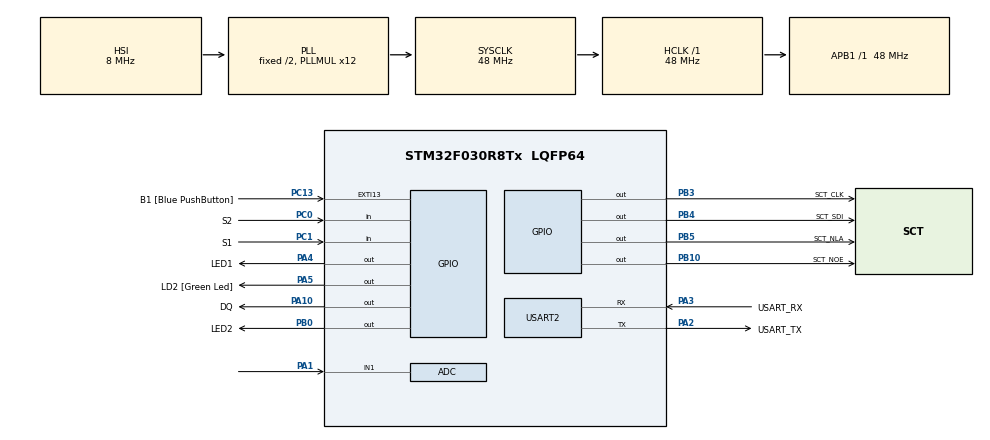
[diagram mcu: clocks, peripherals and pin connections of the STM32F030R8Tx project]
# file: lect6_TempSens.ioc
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ADC.ContinuousConvMode=ENABLE
ADC.Overrun=ADC_OVR_DATA_OVERWRITTEN
ADC.Resolution=ADC_RESOLUTION_10B
Mcu.Family=STM32F0
Mcu.Name=STM32F030R8Tx
Mcu.Package=LQFP64
PA1.Mode=IN1
PA1.Signal=ADC_IN1
PA10.GPIO_Label=DQ
PA10.GPIO_ModeDefaultOutputPP=GPIO_MODE_OUTPUT_OD
PA10.GPIO_PuPd=GPIO_NOPULL
PA10.PinState=GPIO_PIN_SET
PA10.Signal=GPIO_Output
PA13.GPIO_Label=TMS
PA13.Mode=Serial_Wire
PA13.Signal=SYS_SWDIO
PA14.GPIO_Label=TCK
PA14.Mode=Serial_Wire
PA14.Signal=SYS_SWCLK
PA2.GPIO_Label=USART_TX
PA2.GPIO_Mode=GPIO_MODE_AF_PP
PA2.GPIO_PuPd=GPIO_NOPULL
PA2.GPIO_Speed=GPIO_SPEED_FREQ_LOW
PA2.Mode=Asynchronous
PA2.Signal=USART2_TX
PA3.GPIO_Label=USART_RX
PA3.GPIO_Mode=GPIO_MODE_AF_PP
PA3.GPIO_PuPd=GPIO_NOPULL
PA3.GPIO_Speed=GPIO_SPEED_FREQ_LOW
PA3.Mode=Asynchronous
PA3.Signal=USART2_RX
PA4.GPIO_Label=LED1
PA4.Signal=GPIO_Output
PA5.GPIO_Label=LD2 [Green Led]
PA5.GPIO_Mode=GPIO_MODE_OUTPUT_PP
PA5.GPIO_PuPd=GPIO_NOPULL
PA5.GPIO_Speed=GPIO_SPEED_FREQ_LOW
PA5.Signal=GPIO_Output
PB0.GPIO_Label=LED2
PB0.Signal=GPIO_Output
PB10.GPIO_Label=SCT_NOE
PB10.Signal=GPIO_Output
PB3.GPIO_Label=SCT_CLK
PB3.Signal=GPIO_Output
PB4.GPIO_Label=SCT_SDI
PB4.Signal=GPIO_Output
PB5.GPIO_Label=SCT_NLA
PB5.Signal=GPIO_Output
PC0.GPIO_Label=S2
PC0.GPIO_PuPd=GPIO_PULLUP
PC0.Signal=GPIO_Input
PC1.GPIO_Label=S1
PC1.GPIO_PuPd=GPIO_PULLUP
PC1.Signal=GPIO_Input
PC13.GPIO_Label=B1 [Blue PushButton]
PC13.GPIO_ModeDefaultEXTI=GPIO_MODE_IT_FALLING
PC13.Signal=GPXTI13
PC14-OSC32_IN.Mode=LSE-External-Oscillator
PC14-OSC32_IN.Signal=RCC_OSC32_IN
PC15-OSC32_OUT.Mode=LSE-External-Oscillator
PC15-OSC32_OUT.Signal=RCC_OSC32_OUT
PF0-OSC_IN.Mode=HSE-External-Clock-Source
PF0-OSC_IN.Signal=RCC_OSC_IN
PF1-OSC_OUT.Signal=RCC_OSC_OUT
ProjectManager.HeapSize=0x200
ProjectManager.StackSize=0x400
ProjectManager.TargetToolchain=STM32CubeIDE
RCC.AHBFreq_Value=48000000
RCC.APB1Freq_Value=48000000
RCC.APB1TimFreq_Value=48000000
RCC.HCLKFreq_Value=48000000
RCC.PLLMUL=RCC_PLL_MUL12
RCC.SYSCLKFreq_VALUE=48000000
RCC.SYSCLKSource=RCC_SYSCLKSOURCE_PLLCLK
USART2.VirtualMode-Asynchronous=VM_ASYNC
board=NUCLEO-F030R8

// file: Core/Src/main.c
/* USER CODE BEGIN Header */
/**
 ******************************************************************************
 * @file           : main.c
 * @brief          : Main program body
 ******************************************************************************
 * @attention
 *
 * Copyright (c) 2024 STMicroelectronics.
 * All rights reserved.
 *
 * This software is licensed under terms that can be found in the LICENSE file
 * in the root directory of this software component.
 * If no LICENSE file comes with this software, it is provided AS-IS.
 *
 ******************************************************************************
 */
/* USER CODE END Header */
#include "main.h"

/* USER CODE BEGIN Includes */
#include "sct.h"
#include "1wire.h"
/* USER CODE END Includes */

ADC_HandleTypeDef hadc;

UART_HandleTypeDef huart2;

/* USER CODE BEGIN PV */
int16_t data [] = {
#include "data.dlm"
};
/* USER CODE END PV */

void SystemClock_Config(void);
static void MX_GPIO_Init(void);
static void MX_USART2_UART_Init(void);
static void MX_ADC_Init(void);

int main(void)
{

	/* MCU Configuration--------------------------------------------------------*/

	/* Reset of all peripherals, Initializes the Flash interface and the Systick. */
	HAL_Init();

	/* Configure the system clock */
	SystemClock_Config();

	/* Initialize all configured peripherals */
	MX_GPIO_Init();
	MX_USART2_UART_Init();
	MX_ADC_Init();

	/* USER CODE BEGIN 2 */
	OWInit();
	sct_init();

	HAL_ADCEx_Calibration_Start(&hadc);
	HAL_ADC_Start(&hadc);

	uint32_t temp_NTC;
	int16_t temp_DS;
	uint32_t timeD = 0;
	uint32_t timeA = 0;

	static enum FSM
	{
		DS18B20, NTC
	} state;
	state =  DS18B20;
	/* USER CODE END 2 */

	/* Infinite loop */
	/* USER CODE BEGIN WHILE */
	while (1)
	{

		uint32_t result;

		/*result = HAL_ADC_GetValue(&hadc);
		sct_value(data[result],0);
		HAL_Delay(100);*/

		uint8_t s1 = HAL_GPIO_ReadPin(S1_GPIO_Port, S1_Pin);
		uint8_t s2 = HAL_GPIO_ReadPin(S2_GPIO_Port, S2_Pin);

		if(HAL_GetTick() > (timeD + CONVERT_T_DELAY)){
			//HAL_GPIO_TogglePin(LED2_GPIO_Port, LED2_Pin);
			OWConvertAll();
			OWReadTemperature(&temp_DS);
			timeD = HAL_GetTick();
		}
		if(HAL_GetTick() > (timeA + 100)){
			result = HAL_ADC_GetValue(&hadc);
			temp_NTC = data[result];
			timeA = HAL_GetTick();
		}

		if(s1 == 0){
			state = DS18B20;

		}
		if(s2 == 0){
			state = NTC;

		}

		switch (state){
		case DS18B20:
			HAL_GPIO_WritePin(LED2_GPIO_Port, LED2_Pin, 1);
			HAL_GPIO_WritePin(LED1_GPIO_Port, LED1_Pin, 0);
			sct_value(temp_DS /10 , 0);
			break;
		case NTC:
			sct_value(temp_NTC , 0);
			HAL_GPIO_WritePin(LED2_GPIO_Port, LED2_Pin, 0);
			HAL_GPIO_WritePin(LED1_GPIO_Port, LED1_Pin, 1);
			break;
		}

		/* OWConvertAll();
     HAL_Delay(CONVERT_T_DELAY);
     int16_t temp;
     OWReadTemperature(&temp);
     sct_value(temp / 10, 0, 0);*/

		/* USER CODE END WHILE */

	}
}

void SystemClock_Config(void)
{
	RCC_OscInitTypeDef RCC_OscInitStruct = {0};
	RCC_ClkInitTypeDef RCC_ClkInitStruct = {0};

	/** Initializes the RCC Oscillators according to the specified parameters
	 * in the RCC_OscInitTypeDef structure.
	 */
	RCC_OscInitStruct.OscillatorType = RCC_OSCILLATORTYPE_HSI|RCC_OSCILLATORTYPE_HSI14;
	RCC_OscInitStruct.HSIState = RCC_HSI_ON;
	RCC_OscInitStruct.HSI14State = RCC_HSI14_ON;
	RCC_OscInitStruct.HSICalibrationValue = RCC_HSICALIBRATION_DEFAULT;
	RCC_OscInitStruct.HSI14CalibrationValue = 16;
	RCC_OscInitStruct.PLL.PLLState = RCC_PLL_ON;
	RCC_OscInitStruct.PLL.PLLSource = RCC_PLLSOURCE_HSI;
	RCC_OscInitStruct.PLL.PLLMUL = RCC_PLL_MUL12;
	RCC_OscInitStruct.PLL.PREDIV = RCC_PREDIV_DIV1;
	if (HAL_RCC_OscConfig(&RCC_OscInitStruct) != HAL_OK)
	{
		Error_Handler();
	}

	/** Initializes the CPU, AHB and APB buses clocks
	 */
	RCC_ClkInitStruct.ClockType = RCC_CLOCKTYPE_HCLK|RCC_CLOCKTYPE_SYSCLK
			|RCC_CLOCKTYPE_PCLK1;
	RCC_ClkInitStruct.SYSCLKSource = RCC_SYSCLKSOURCE_PLLCLK;
	RCC_ClkInitStruct.AHBCLKDivider = RCC_SYSCLK_DIV1;
	RCC_ClkInitStruct.APB1CLKDivider = RCC_HCLK_DIV1;

	if (HAL_RCC_ClockConfig(&RCC_ClkInitStruct, FLASH_LATENCY_1) != HAL_OK)
	{
		Error_Handler();
	}
}

static void MX_ADC_Init(void)
{

	ADC_ChannelConfTypeDef sConfig = {0};

	/** Configure the global features of the ADC (Clock, Resolution, Data Alignment and number of conversion)
	 */
	hadc.Instance = ADC1;
	hadc.Init.ClockPrescaler = ADC_CLOCK_ASYNC_DIV1;
	hadc.Init.Resolution = ADC_RESOLUTION_10B;
	hadc.Init.DataAlign = ADC_DATAALIGN_RIGHT;
	hadc.Init.ScanConvMode = ADC_SCAN_DIRECTION_FORWARD;
	hadc.Init.EOCSelection = ADC_EOC_SINGLE_CONV;
	hadc.Init.LowPowerAutoWait = DISABLE;
	hadc.Init.LowPowerAutoPowerOff = DISABLE;
	hadc.Init.ContinuousConvMode = ENABLE;
	hadc.Init.DiscontinuousConvMode = DISABLE;
	hadc.Init.ExternalTrigConv = ADC_SOFTWARE_START;
	hadc.Init.ExternalTrigConvEdge = ADC_EXTERNALTRIGCONVEDGE_NONE;
	hadc.Init.DMAContinuousRequests = DISABLE;
	hadc.Init.Overrun = ADC_OVR_DATA_OVERWRITTEN;
	if (HAL_ADC_Init(&hadc) != HAL_OK)
	{
		Error_Handler();
	}

	/** Configure for the selected ADC regular channel to be converted.
	 */
	sConfig.Channel = ADC_CHANNEL_1;
	sConfig.Rank = ADC_RANK_CHANNEL_NUMBER;
	sConfig.SamplingTime = ADC_SAMPLETIME_1CYCLE_5;
	if (HAL_ADC_ConfigChannel(&hadc, &sConfig) != HAL_OK)
	{
		Error_Handler();
	}

}

static void MX_USART2_UART_Init(void)
{

	huart2.Instance = USART2;
	huart2.Init.BaudRate = 38400;
	huart2.Init.WordLength = UART_WORDLENGTH_8B;
	huart2.Init.StopBits = UART_STOPBITS_1;
	huart2.Init.Parity = UART_PARITY_NONE;
	huart2.Init.Mode = UART_MODE_TX_RX;
	huart2.Init.HwFlowCtl = UART_HWCONTROL_NONE;
	huart2.Init.OverSampling = UART_OVERSAMPLING_16;
	huart2.Init.OneBitSampling = UART_ONE_BIT_SAMPLE_DISABLE;
	huart2.AdvancedInit.AdvFeatureInit = UART_ADVFEATURE_NO_INIT;
	if (HAL_UART_Init(&huart2) != HAL_OK)
	{
		Error_Handler();
	}

}

static void MX_GPIO_Init(void)
{
	GPIO_InitTypeDef GPIO_InitStruct = {0};

	/* GPIO Ports Clock Enable */
	__HAL_RCC_GPIOC_CLK_ENABLE();
	__HAL_RCC_GPIOF_CLK_ENABLE();
	__HAL_RCC_GPIOA_CLK_ENABLE();
	__HAL_RCC_GPIOB_CLK_ENABLE();

	/*Configure GPIO pin Output Level */
	HAL_GPIO_WritePin(GPIOA, LED1_Pin|LD2_Pin, GPIO_PIN_RESET);

	/*Configure GPIO pin Output Level */
	HAL_GPIO_WritePin(GPIOB, LED2_Pin|SCT_NOE_Pin|SCT_CLK_Pin|SCT_SDI_Pin
			|SCT_NLA_Pin, GPIO_PIN_RESET);

	/*Configure GPIO pin Output Level */
	HAL_GPIO_WritePin(DQ_GPIO_Port, DQ_Pin, GPIO_PIN_SET);

	/*Configure GPIO pin : B1_Pin */
	GPIO_InitStruct.Pin = B1_Pin;
	GPIO_InitStruct.Mode = GPIO_MODE_IT_FALLING;
	GPIO_InitStruct.Pull = GPIO_NOPULL;
	HAL_GPIO_Init(B1_GPIO_Port, &GPIO_InitStruct);

	/*Configure GPIO pins : S2_Pin S1_Pin */
	GPIO_InitStruct.Pin = S2_Pin|S1_Pin;
	GPIO_InitStruct.Mode = GPIO_MODE_INPUT;
	GPIO_InitStruct.Pull = GPIO_PULLUP;
	HAL_GPIO_Init(GPIOC, &GPIO_InitStruct);

	/*Configure GPIO pins : LED1_Pin LD2_Pin */
	GPIO_InitStruct.Pin = LED1_Pin|LD2_Pin;
	GPIO_InitStruct.Mode = GPIO_MODE_OUTPUT_PP;
	GPIO_InitStruct.Pull = GPIO_NOPULL;
	GPIO_InitStruct.Speed = GPIO_SPEED_FREQ_LOW;
	HAL_GPIO_Init(GPIOA, &GPIO_InitStruct);

	/*Configure GPIO pins : LED2_Pin SCT_NOE_Pin SCT_CLK_Pin SCT_SDI_Pin
                           SCT_NLA_Pin */
	GPIO_InitStruct.Pin = LED2_Pin|SCT_NOE_Pin|SCT_CLK_Pin|SCT_SDI_Pin
			|SCT_NLA_Pin;
	GPIO_InitStruct.Mode = GPIO_MODE_OUTPUT_PP;
	GPIO_InitStruct.Pull = GPIO_NOPULL;
	GPIO_InitStruct.Speed = GPIO_SPEED_FREQ_LOW;
	HAL_GPIO_Init(GPIOB, &GPIO_InitStruct);

	/*Configure GPIO pin : DQ_Pin */
	GPIO_InitStruct.Pin = DQ_Pin;
	GPIO_InitStruct.Mode = GPIO_MODE_OUTPUT_OD;
	GPIO_InitStruct.Pull = GPIO_NOPULL;
	GPIO_InitStruct.Speed = GPIO_SPEED_FREQ_LOW;
	HAL_GPIO_Init(DQ_GPIO_Port, &GPIO_InitStruct);

}

void Error_Handler(void)
{
	__disable_irq();
	while (1)
	{
	}
}
